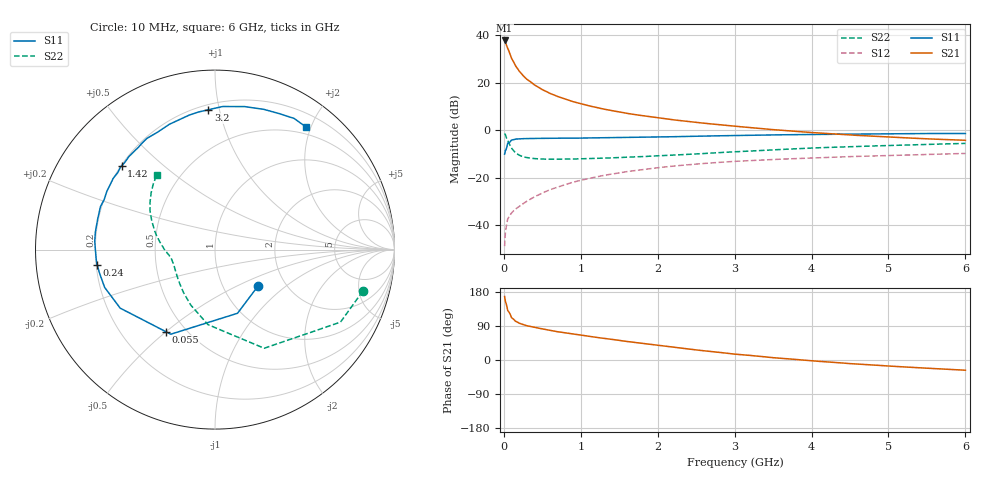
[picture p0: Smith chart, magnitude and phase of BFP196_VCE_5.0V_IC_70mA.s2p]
! Infineon Technologies  Discrete & RF Semiconductors
! BFP196
! VCE = 5.0 V,  IC =  70mA
! Common Emitter S-Parameters:  Jan 2016
# GHz  S  MA  R  50
!  f  S11  S21  S12  S22
! GHz  MAG  ANG  MAG  ANG  MAG  ANG  MAG  ANG
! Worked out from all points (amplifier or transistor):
!   210 points, 10 MHz to 6 GHz, reference 50 ohm
!   highest |S21| = 37.8 dB at 10 MHz (marker M1)
!   |S21| within 3 dB of that: start of sweep to 46.24 MHz
!   unconditionally stable (mu >= 1): 424.5 MHz to 4.93 GHz
!   at 185 MHz: K = 0.76, MSG = 29.1 dB, |S12| = -32.5 dB
!   at 1.52 GHz: K = 1.08, MAG = 11.0 dB, |S12| = -17.8 dB
!   at 6 GHz: K = 0.99, MSG = 2.8 dB, |S12| = -9.8 dB
!   S11 on the Smith chart (normalised r, x): 10 MHz: 1.46, -0.66; 55 MHz: 0.39, -0.50; 240 MHz: 0.20, -0.06; 1.42 GHz: 0.20, +0.37; 3.2 GHz: 0.23, +0.93; 6 GHz: 0.39, +1.93
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0.01  0.3141 -40.2  77.8 167.4  0.0036 80.1  0.8553 -15.7
0.02  0.3763 -70.5  72 155.2  0.0069 71.4  0.8076 -30.0
0.05  0.5319 -117.6  53.39 130.9  0.0135 55.5  0.6142 -63.5
0.055  0.533 -121.0  51.16 129.7  0.0139 54.8  0.5888 -65.7
0.1  0.6208 -148.3  32.79 111.7  0.018 49.7  0.4196 -95.4
0.15  0.65 -161.1  22.93 102.5  0.0217 51.3  0.3367 -113.8
0.2  0.6565 -168.4  17.57 97.0  0.0247 54.4  0.2978 -125.8
0.24  0.6619 -172.7  14.77 94.0  0.0276 56.0  0.2794 -133.0
0.26  0.6638 -174.6  13.62 92.5  0.029 56.9  0.2732 -136.0
0.3  0.665 -177.9  11.82 90.3  0.0319 59.2  0.2648 -140.8
0.4  0.6716 176.1  8.94 85.8  0.0394 61.7  0.2522 -149.9
0.5  0.6737 171.6  7.157 82.0  0.0473 63.2  0.2466 -155.6
0.6  0.6745 167.1  5.966 78.2  0.0556 64.0  0.2451 -159.5
0.7  0.6774 163.1  5.133 74.5  0.0633 64.0  0.2452 -162.5
1.02  0.6846 151.1  3.538 65.0  0.0896 61.5  0.25 -169.1
1.42  0.6987 138.2  2.553 54.0  0.1204 56.6  0.2619 -174.4
2.02  0.7263 120.9  1.806 38.5  0.1634 47.9  0.2893 177.4
3.1  0.7757 94.7  1.174 13.9  0.2245 31.8  0.3568 161.5
3.2  0.78 92.7  1.135 12.1  0.2286 30.3  0.3637 160.0
4.1  0.8153 76.8  0.872 -3.6  0.2632 18.9  0.4271 148.0
5.1  0.8406 63.4  0.705 -17.0  0.2964 7.8  0.4808 137.3
6  0.8508 53.4  0.613 -27.0  0.324 -2.1  0.5269 128.2
